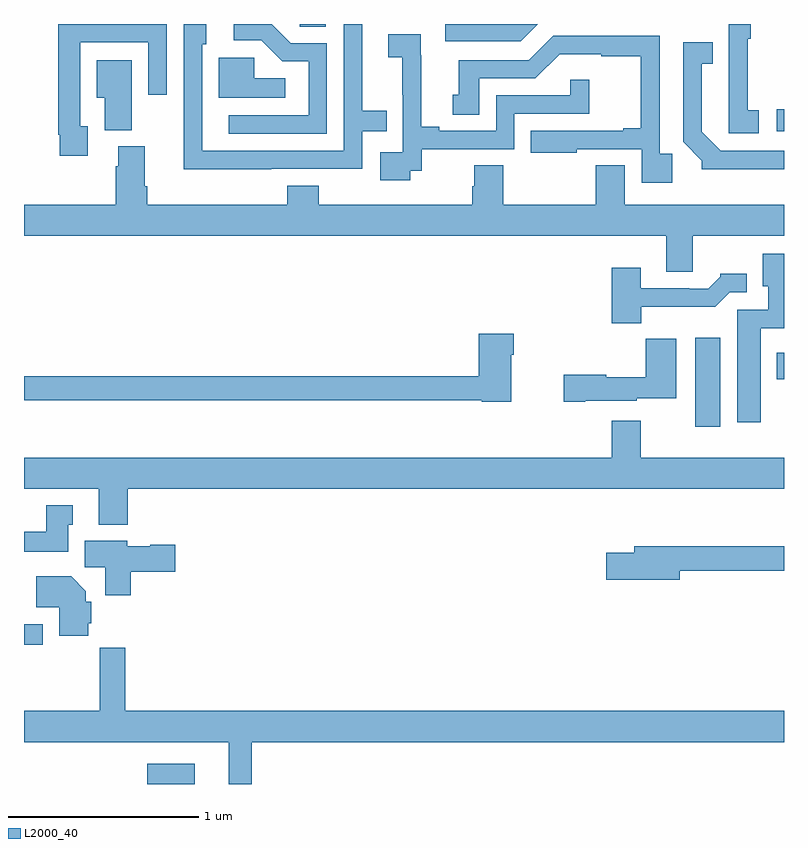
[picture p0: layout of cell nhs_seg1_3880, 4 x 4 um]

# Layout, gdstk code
import gdstk
lib = gdstk.Library(unit=1e-6, precision=1e-09)
def R(c, l, rs):  # rectangles x0, y0, x1, y1
    for r in rs: c.add(gdstk.rectangle(r[:2], r[2:], *l))
def P(c, l, *ps):  # polygons
    for p in ps: c.add(gdstk.Polygon(p, *l))
L2000_40 = (2000, 40)

nhs_seg1_3880 = lib.new_cell('nhs_seg1_3880')
R(nhs_seg1_3880, L2000_40, [(323.648,530.199,323.899,530.305), (323,530.931,323.098,531.039), (326.534,532.08,326.665,532.549), (326.963,532.328,327,532.468), (326.961,533.634,327,533.75), (324.45,534.184,324.589,534.199)])
P(nhs_seg1_3880, L2000_40, [(323.335,533.661),(323.295,533.661),(323.295,534.102),(323.655,534.102),(323.655,533.826),(323.751,533.826),(323.751,534.198),(323.355,534.198),(323.355,534.199),(323.179,534.199),(323.179,533.617),(323.187,533.617),(323.187,533.505),(323.335,533.505)],
  [(324.594,534.099),(324.405,534.099),(324.305,534.199),(324.105,534.199),(324.105,534.114),(324.249,534.114),(324.36,534.003),(324.498,534.003),(324.498,533.718),(324.078,533.718),(324.078,533.622),(324.594,533.622)],
  [(326.866,533.745),(326.808,533.745),(326.808,534.121),(326.825,534.121),(326.825,534.199),(326.709,534.199),(326.709,533.9),(326.708,533.9),(326.708,533.625),(326.866,533.625)],
  [(325.705,534.199),(325.218,534.199),(325.218,534.108),(325.614,534.108)],
  [(324.302,533.436),(324.78,533.436),(324.78,533.634),(324.908,533.634),(324.908,533.743),(324.781,533.743),(324.781,534.199),(324.684,534.199),(324.684,533.532),(323.937,533.532),(323.937,534.093),(323.959,534.093),(323.959,534.199),(323.841,534.199),(323.841,533.738),(323.84,533.738),(323.84,533.435),(324.302,533.435)],
  [(325.032,533.427),(325.094,533.427),(325.094,533.541),(325.581,533.541),(325.581,533.727),(325.976,533.727),(325.976,533.905),(325.875,533.905),(325.875,533.823),(325.485,533.823),(325.485,533.637),(325.186,533.637),(325.186,533.657),(325.09,533.657),(325.09,534.035),(325.088,534.035),(325.088,534.146),(324.918,534.146),(324.918,534.025),(324.992,534.025),(324.992,533.827),(324.993,533.827),(324.993,533.523),(324.876,533.523),(324.876,533.376),(325.032,533.376)],
  [(326.411,533.515),(326.346,533.515),(326.346,534.138),(325.785,534.138),(325.656,534.009),(325.289,534.009),(325.289,533.826),(325.256,533.826),(325.256,533.722),(325.396,533.722),(325.396,533.913),(325.692,533.913),(325.82,534.041),(326.039,534.041),(326.039,534.03),(326.245,534.03),(326.245,533.65),(326.153,533.65),(326.153,533.637),(325.666,533.637),(325.666,533.522),(325.909,533.522),(325.909,533.541),(326.25,533.541),(326.25,533.364),(326.411,533.364)],
  [(327,533.532),(326.667,533.532),(326.566,533.633),(326.566,533.99),(326.624,533.99),(326.624,534.103),(326.469,534.103),(326.469,533.578),(326.568,533.479),(326.568,533.435),(327,533.435)],
  [(324.376,533.914),(324.213,533.914),(324.213,534.021),(324.026,534.021),(324.026,533.81),(324.376,533.81)],
  [(323.566,534.007),(323.384,534.007),(323.384,533.81),(323.426,533.81),(323.426,533.641),(323.566,533.641)],
  [(326.521,533.084),(327,533.084),(327,533.248),(326.161,533.248),(326.161,533.456),(326.009,533.456),(326.009,533.248),(325.523,533.248),(325.523,533.456),(325.37,533.456),(325.37,533.346),(325.358,533.346),(325.358,533.248),(324.551,533.248),(324.551,533.347),(324.386,533.347),(324.386,533.248),(323.648,533.248),(323.648,533.344),(323.635,533.344),(323.635,533.556),(323.495,533.556),(323.495,533.45),(323.483,533.45),(323.483,533.248),(323,533.248),(323,533.084),(326.381,533.084),(326.381,532.894),(326.521,532.894)],
  [(326.878,532.598),(327,532.598),(327,532.99),(326.888,532.99),(326.888,532.818),(326.916,532.818),(326.916,532.695),(326.753,532.695),(326.753,532.104),(326.878,532.104)],
  [(326.248,532.71),(326.637,532.71),(326.715,532.788),(326.803,532.788),(326.803,532.885),(326.664,532.885),(326.664,532.87),(326.6,532.806),(326.501,532.806),(326.501,532.809),(326.245,532.809),(326.245,532.915),(326.093,532.915),(326.093,532.625),(326.248,532.625)],
  [(325.564,532.457),(325.577,532.457),(325.577,532.57),(325.394,532.57),(325.394,532.346),(323,532.346),(323,532.218),(325.41,532.218),(325.41,532.21),(325.564,532.21)],
  [(325.954,532.217),(326.226,532.217),(326.226,532.229),(326.434,532.229),(326.434,532.543),(326.272,532.543),(326.272,532.339),(326.064,532.339),(326.064,532.352),(325.842,532.352),(325.842,532.21),(325.954,532.21)],
  [(323.546,531.752),(327,531.752),(327,531.916),(326.245,531.916),(326.245,532.111),(326.093,532.111),(326.093,531.916),(323,531.916),(323,531.752),(323.393,531.752),(323.393,531.563),(323.546,531.563)],
  [(323.233,531.564),(323.257,531.564),(323.257,531.667),(323.117,531.667),(323.117,531.526),(323,531.526),(323,531.422),(323.233,531.422)],
  [(323.561,531.317),(323.797,531.317),(323.797,531.459),(323.664,531.459),(323.664,531.451),(323.544,531.451),(323.544,531.478),(323.321,531.478),(323.321,531.34),(323.428,531.34),(323.428,531.192),(323.561,531.192)],
  [(326.452,531.322),(327,531.322),(327,531.451),(326.213,531.451),(326.213,531.417),(326.064,531.417),(326.064,531.275),(326.452,531.275)],
  [(323.339,531.045),(323.354,531.045),(323.354,531.159),(323.326,531.159),(323.326,531.214),(323.248,531.292),(323.065,531.292),(323.065,531.128),(323.186,531.128),(323.186,530.978),(323.339,530.978)],
  [(324.199,530.42),(327,530.42),(327,530.584),(323.534,530.584),(323.534,530.917),(323.398,530.917),(323.398,530.584),(323,530.584),(323,530.42),(324.077,530.42),(324.077,530.199),(324.199,530.199)])

lib.write_gds('nhs_seg1_3880.gds')
